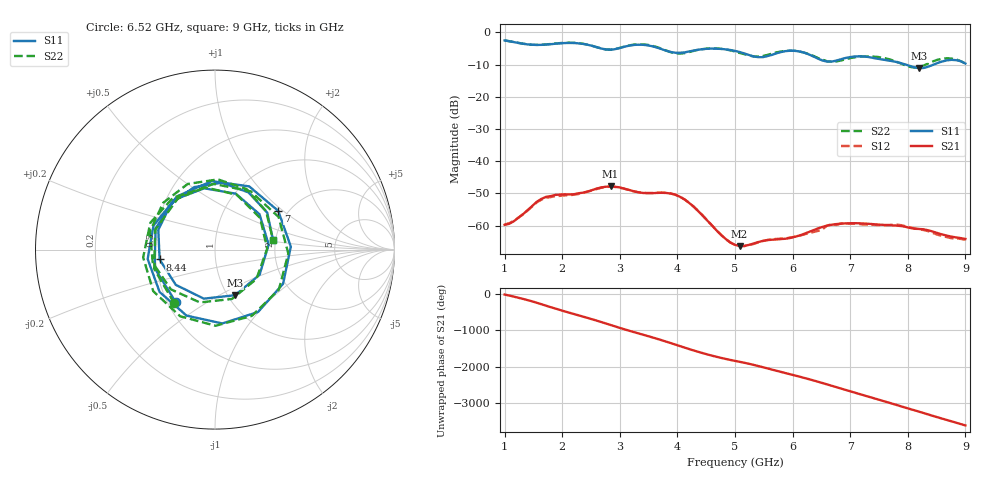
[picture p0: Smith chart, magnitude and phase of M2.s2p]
# Hz S DB R 50
! CMT, C1420, 19038819, 22.4.2/3
! Date: 2023-03-14 09:50:56
! Data: Format (Calibration Info)
! Freq	S11:dB/Ang(F2)	S21:dB/Ang(F2)	S12:dB/Ang(F2)	S22:dB/Ang(F2)
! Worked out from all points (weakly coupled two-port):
!   101 points, 1 GHz to 9 GHz, reference 50 ohm
!   highest |S21| = -47.80 dB at 2.84 GHz (marker M1); lowest = -66.3 dB at 5.08 GHz (marker M2)
!   lowest |S11| = -11.1 dB at 8.2 GHz (marker M3), VSWR 1.77, Z = 54.1 - j29.8 ohm
!   |S11| at or under -10 dB: 7.962 GHz to 8.451 GHz (489.1 MHz wide, 5.96 % of centre)
!   |S22| runs from -11.0 to -2.5 dB; largest |S21 - S12| = 0.00017
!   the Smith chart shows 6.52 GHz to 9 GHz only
!   S11 on the Smith chart (normalised r, x): 6.52 GHz: 0.55, -0.37; 7 GHz: 1.78, +0.93; 8.44 GHz: 0.53, -0.06; 9 GHz: 1.94, +0.24
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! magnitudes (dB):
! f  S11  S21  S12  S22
! 1 GHz  -2.5  -59.7  -59.6  -2.5
! 1.72 GHz  -3.8  -51.0  -51.3  -3.8
! 2.36 GHz  -3.6  -49.7  -49.9  -3.6
! 2.84 GHz  -5.4  -47.8  -47.9  -5.4
! 3.32 GHz  -3.8  -49.6  -49.6  -3.7
! 3.72 GHz  -5.2  -49.8  -49.7  -5.1
! 4.12 GHz  -6.2  -51.8  -51.8  -6.5
! 4.52 GHz  -5.1  -58.4  -58.4  -5.0
! 5 GHz  -5.8  -66.0  -66.0  -5.9
! 5.08 GHz  -6.1  -66.3  -66.3  -6.4
! 5.48 GHz  -7.7  -64.7  -64.8  -7.4
! 6.04 GHz  -5.7  -63.5  -63.4  -5.8
! 6.36 GHz  -7.5  -61.4  -62.0  -7.3
! 6.52 GHz  -8.8  -60.4  -61.1  -8.5
! 6.68 GHz  -9.1  -59.7  -59.6  -9.1
! 7 GHz  -7.7  -59.3  -59.3  -8.0
! 7.32 GHz  -7.7  -59.4  -59.7  -7.4
! 7.72 GHz  -8.9  -59.9  -59.7  -8.6
! 8.2 GHz  -11.1  -61.0  -61.1  -10.7
! 8.44 GHz  -10.1  -61.9  -62.3  -9.0
! 8.76 GHz  -8.5  -63.4  -63.9  -8.1
! 9 GHz  -9.7  -64.1  -64.4  -9.7
